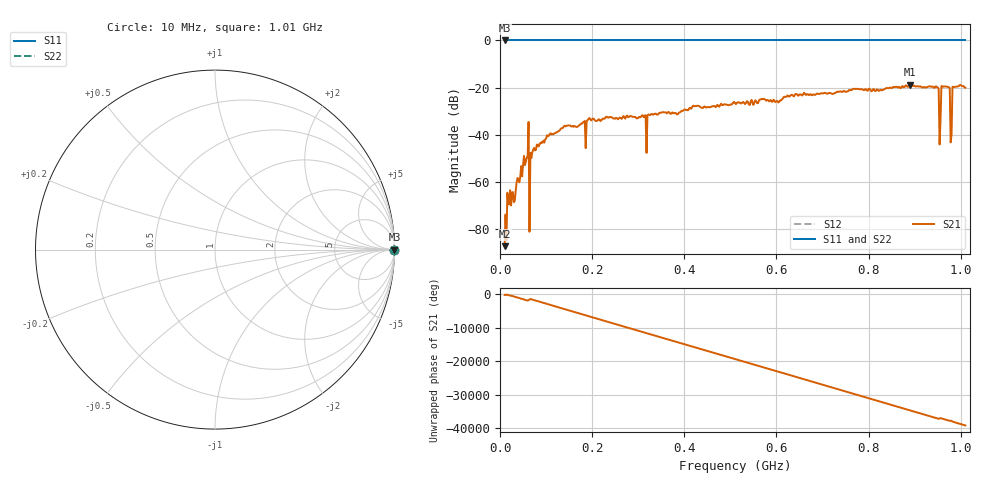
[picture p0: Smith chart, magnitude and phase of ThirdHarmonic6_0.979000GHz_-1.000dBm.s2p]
! 8/16/2025 7:33:52 AM
! C:\ANRITSUVNA\TEMP\TEMP.S2P
! CHANNEL.1
! TR.MEASUREMENT
! RAW.DATA
! RF.CORRECTION.OFF
! AVERAGING.OFF
! IF.BANDWIDTH: 5KHZ
! SWEEPTYPE:  FREQ.SWEEP(Linear)
! Reference Plane Port Info
! PORT:  PORT1  PORT2
! DISTANCE:  0  m  0  m
! TIME:  0  s  0  s
! PHASE.OFFSET:  0  deg.  0  deg.
! LOSS:  0  dB  0  dB
! REF.LOSS:  0  dB  0  dB
! REF.FREQ:  0  Hz  0  Hz
! Power Info
! POWER:  -20  dBm  -20  dBm
! EFF.POWER:  -20  dBm  -20  dBm
! SOURCE.ATTEN:  0  dB  0  dB
! TEST.ATTEN:  0  dB  0  dB
# GHZ S RI R 50.0
! FREQ.GHZ  S11RE  S11IM  S21RE  S21IM  S12RE  S12IM  S22RE  S22IM
!; PortSelection: Port_12
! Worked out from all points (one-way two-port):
!   501 points, 10 MHz to 1.01 GHz, reference 50 ohm
!   highest |S21| = -18.76 dB at 890 MHz (marker M1); lowest = -87.1 dB at 10 MHz (marker M2)
!   lowest |S11| = 0.0 dB at 10 MHz (marker M3)
!   |S11| at or under -10 dB: nowhere
!   |S22| runs from 0.0 to 0.0 dB; largest |S21 - S12| = 1.1
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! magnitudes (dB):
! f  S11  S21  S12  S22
! 10 MHz  0.0  -87.1  0.0  0.0
! 20 MHz  0.0  -69.4  0.0  0.0
! 58 MHz  0.0  -49.5  0.0  0.0
! 60 MHz  0.0  -49.5  0.0  0.0
! 68 MHz  0.0  -49.8  0.0  0.0
! 70 MHz  0.0  -47.5  0.0  0.0
! 106 MHz  0.0  -40.4  0.0  0.0
! 178 MHz  0.0  -35.2  0.0  0.0
! 344 MHz  0.0  -31.1  0.0  0.0
! 510 MHz  0.0  -26.5  0.0  0.0
! 678 MHz  0.0  -23.2  0.0  0.0
! 844 MHz  0.0  -20.2  0.0  0.0
! 890 MHz  0.0  -18.8  0.0  0.0
! 948 MHz  0.0  -19.7  0.0  0.0
! 952 MHz  0.0  -20.5  0.0  0.0
! 958 MHz  0.0  -19.3  0.0  0.0
! 962 MHz  0.0  -19.6  0.0  0.0
! 972 MHz  0.0  -19.8  0.0  0.0
! 976 MHz  0.0  -20.1  0.0  0.0
! 982 MHz  0.0  -19.6  0.0  0.0
! 986 MHz  0.0  -19.7  0.0  0.0
! 1.01 GHz  0.0  -20.0  0.0  0.0
